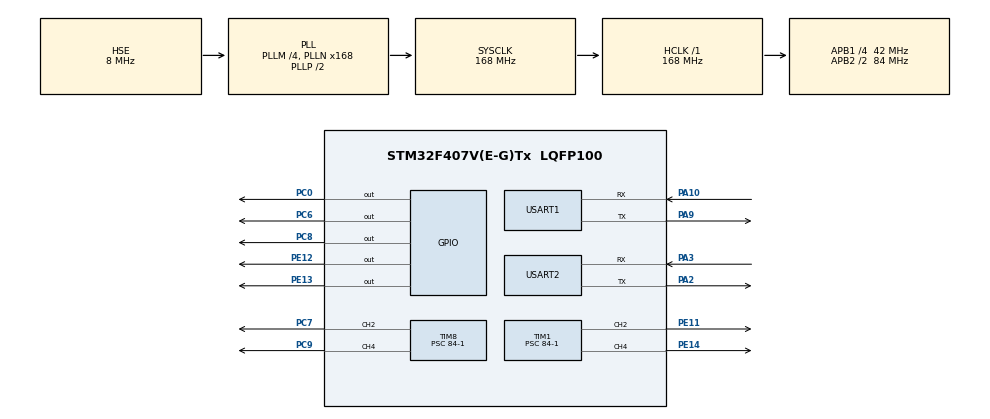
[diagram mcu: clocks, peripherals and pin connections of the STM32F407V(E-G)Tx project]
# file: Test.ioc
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Dma.Request0=USART2_RX
Dma.USART2_RX.0.Direction=DMA_PERIPH_TO_MEMORY
Dma.USART2_RX.0.FIFOMode=DMA_FIFOMODE_DISABLE
Dma.USART2_RX.0.Instance=DMA1_Stream5
Dma.USART2_RX.0.MemDataAlignment=DMA_MDATAALIGN_BYTE
Dma.USART2_RX.0.MemInc=DMA_MINC_ENABLE
Dma.USART2_RX.0.Mode=DMA_NORMAL
Dma.USART2_RX.0.PeriphDataAlignment=DMA_PDATAALIGN_BYTE
Dma.USART2_RX.0.PeriphInc=DMA_PINC_DISABLE
Dma.USART2_RX.0.Priority=DMA_PRIORITY_LOW
FREERTOS.Tasks01=Pid_Control,2,128,StartDefaultTask,Default,NULL,Dynamic,NULL,NULL;Recive,3,128,StartTask02,Default,NULL,Dynamic,NULL,NULL;Mpu_6050,-1,128,StartTask04,Default,NULL,Dynamic,NULL,NULL;Safety,3,128,StartTask05,Default,NULL,Dynamic,NULL,NULL
Mcu.Family=STM32F4
Mcu.Name=STM32F407V(E-G)Tx
Mcu.Package=LQFP100
NVIC.DMA1_Stream5_IRQn=true\:5\:0\:false\:false\:true\:true\:false\:true\:true
NVIC.PriorityGroup=NVIC_PRIORITYGROUP_4
NVIC.TIM1_BRK_TIM9_IRQn=true\:5\:0\:false\:false\:true\:false\:false\:true\:true
NVIC.TIM1_UP_TIM10_IRQn=true\:5\:0\:false\:false\:true\:true\:true\:true\:true
NVIC.TimeBase=TIM1_BRK_TIM9_IRQn
NVIC.TimeBaseIP=TIM9
NVIC.USART1_IRQn=true\:5\:0\:false\:false\:true\:true\:true\:true\:true
NVIC.USART2_IRQn=true\:5\:0\:false\:false\:true\:true\:true\:true\:true
PA10.Mode=Asynchronous
PA10.Signal=USART1_RX
PA13.Mode=Serial_Wire
PA13.Signal=SYS_JTMS-SWDIO
PA14.Mode=Serial_Wire
PA14.Signal=SYS_JTCK-SWCLK
PA2.Mode=Asynchronous
PA2.Signal=USART2_TX
PA3.Mode=Asynchronous
PA3.Signal=USART2_RX
PA9.Mode=Asynchronous
PA9.Signal=USART1_TX
PC0.Signal=GPIO_Output
PC14-OSC32_IN.Mode=LSE-External-Oscillator
PC14-OSC32_IN.Signal=RCC_OSC32_IN
PC15-OSC32_OUT.Mode=LSE-External-Oscillator
PC15-OSC32_OUT.Signal=RCC_OSC32_OUT
PC6.Signal=GPIO_Output
PC7.Signal=S_TIM8_CH2
PC8.Signal=GPIO_Output
PC9.Signal=S_TIM8_CH4
PE11.Signal=S_TIM1_CH2
PE12.Signal=GPIO_Output
PE13.Signal=GPIO_Output
PE14.Signal=S_TIM1_CH4
PH0-OSC_IN.Mode=HSE-External-Oscillator
PH0-OSC_IN.Signal=RCC_OSC_IN
PH1-OSC_OUT.Mode=HSE-External-Oscillator
PH1-OSC_OUT.Signal=RCC_OSC_OUT
ProjectManager.HeapSize=0x200
ProjectManager.StackSize=0x400
ProjectManager.TargetToolchain=MDK-ARM V5.32
RCC.48MHZClocksFreq_Value=84000000
RCC.AHBFreq_Value=168000000
RCC.APB1CLKDivider=RCC_HCLK_DIV4
RCC.APB1Freq_Value=42000000
RCC.APB1TimFreq_Value=84000000
RCC.APB2CLKDivider=RCC_HCLK_DIV2
RCC.APB2Freq_Value=84000000
RCC.APB2TimFreq_Value=168000000
RCC.CortexFreq_Value=168000000
RCC.HCLKFreq_Value=168000000
RCC.HSE_VALUE=8000000
RCC.HSI_VALUE=16000000
RCC.PLLM=4
RCC.PLLN=168
RCC.PLLSourceVirtual=RCC_PLLSOURCE_HSE
RCC.SYSCLKFreq_VALUE=168000000
RCC.SYSCLKSource=RCC_SYSCLKSOURCE_PLLCLK
RCC.VCOOutputFreq_Value=336000000
SH.S_TIM1_CH2.0=TIM1_CH2,PWM Generation2 CH2
SH.S_TIM1_CH4.0=TIM1_CH4,PWM Generation4 CH4
SH.S_TIM8_CH2.0=TIM8_CH2,PWM Generation2 CH2
SH.S_TIM8_CH4.0=TIM8_CH4,PWM Generation4 CH4
TIM1.AutoReloadPreload=TIM_AUTORELOAD_PRELOAD_DISABLE
TIM1.Channel-PWM\ Generation2\ CH2=TIM_CHANNEL_2
TIM1.Channel-PWM\ Generation4\ CH4=TIM_CHANNEL_4
TIM1.Period=200-1
TIM1.Prescaler=84-1
TIM8.Channel-PWM\ Generation2\ CH2=TIM_CHANNEL_2
TIM8.Channel-PWM\ Generation4\ CH4=TIM_CHANNEL_4
TIM8.Period=200-1
TIM8.Prescaler=84-1
USART1.VirtualMode=VM_ASYNC
USART2.VirtualMode=VM_ASYNC
VP_FREERTOS_VS_CMSIS_V1.Mode=CMSIS_V1
VP_SYS_VS_tim9.Mode=TIM9
VP_TIM1_VS_ClockSourceINT.Mode=Internal
board=custom

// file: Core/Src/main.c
/* USER CODE BEGIN Header */
/**
  ******************************************************************************
  * @file           : main.c
  * @brief          : Main program body
  ******************************************************************************
  * @attention
  *
  * Copyright (c) 2025 STMicroelectronics.
  * All rights reserved.
  *
  * This software is licensed under terms that can be found in the LICENSE file
  * in the root directory of this software component.
  * If no LICENSE file comes with this software, it is provided AS-IS.
  *
  ******************************************************************************
  */
/* USER CODE END Header */
#include "main.h"
#include "cmsis_os.h"
#include "dma.h"
#include "tim.h"
#include "usart.h"
#include "gpio.h"

/* USER CODE BEGIN Includes */
#include "dual_wheel_control.h"
/* USER CODE END Includes */

/* USER CODE BEGIN PTD */

uint8_t uart_dma_rx_buf[UART_DMA_BUFFER_SIZE];  // DMA接收缓冲区
uint8_t uart_frame[32];                         // 一帧数据缓存（例如14字节）

/* USER CODE END PTD */

void SystemClock_Config(void);
void MX_FREERTOS_Init(void);

int main(void)
{

  /* MCU Configuration--------------------------------------------------------*/

  /* Reset of all peripherals, Initializes the Flash interface and the Systick. */
  HAL_Init();

  /* Configure the system clock */
  SystemClock_Config();

  /* Initialize all configured peripherals */
  MX_GPIO_Init();
  MX_DMA_Init();
  MX_USART1_UART_Init();
  MX_TIM1_Init();
  MX_TIM8_Init();
  MX_USART2_UART_Init();
  /* USER CODE BEGIN 2 */
  HAL_TIM_PWM_Start(&htim1,TIM_CHANNEL_2);
	HAL_TIM_PWM_Start(&htim1,TIM_CHANNEL_4);
	HAL_TIM_PWM_Start(&htim8,TIM_CHANNEL_2);
	HAL_TIM_PWM_Start(&htim8,TIM_CHANNEL_4);
	dual_wheel_init(); // 鍒濆鍖? BTS7960
	HAL_UART_Receive_DMA(&huart2, uart_dma_rx_buf, UART_DMA_BUFFER_SIZE);
__HAL_UART_ENABLE_IT(&huart2, UART_IT_IDLE);

  /* USER CODE END 2 */

  /* Call init function for freertos objects (in cmsis_os2.c) */
  MX_FREERTOS_Init();

  /* Start scheduler */
  osKernelStart();

  /* We should never get here as control is now taken by the scheduler */

  /* Infinite loop */
  while (1)
  {

  }
}

void SystemClock_Config(void)
{
  RCC_OscInitTypeDef RCC_OscInitStruct = {0};
  RCC_ClkInitTypeDef RCC_ClkInitStruct = {0};

  /** Configure the main internal regulator output voltage
  */
  __HAL_RCC_PWR_CLK_ENABLE();
  __HAL_PWR_VOLTAGESCALING_CONFIG(PWR_REGULATOR_VOLTAGE_SCALE1);

  /** Initializes the RCC Oscillators according to the specified parameters
  * in the RCC_OscInitTypeDef structure.
  */
  RCC_OscInitStruct.OscillatorType = RCC_OSCILLATORTYPE_HSE;
  RCC_OscInitStruct.HSEState = RCC_HSE_ON;
  RCC_OscInitStruct.PLL.PLLState = RCC_PLL_ON;
  RCC_OscInitStruct.PLL.PLLSource = RCC_PLLSOURCE_HSE;
  RCC_OscInitStruct.PLL.PLLM = 4;
  RCC_OscInitStruct.PLL.PLLN = 168;
  RCC_OscInitStruct.PLL.PLLP = RCC_PLLP_DIV2;
  RCC_OscInitStruct.PLL.PLLQ = 4;
  if (HAL_RCC_OscConfig(&RCC_OscInitStruct) != HAL_OK)
  {
    Error_Handler();
  }

  /** Initializes the CPU, AHB and APB buses clocks
  */
  RCC_ClkInitStruct.ClockType = RCC_CLOCKTYPE_HCLK|RCC_CLOCKTYPE_SYSCLK
                              |RCC_CLOCKTYPE_PCLK1|RCC_CLOCKTYPE_PCLK2;
  RCC_ClkInitStruct.SYSCLKSource = RCC_SYSCLKSOURCE_PLLCLK;
  RCC_ClkInitStruct.AHBCLKDivider = RCC_SYSCLK_DIV1;
  RCC_ClkInitStruct.APB1CLKDivider = RCC_HCLK_DIV4;
  RCC_ClkInitStruct.APB2CLKDivider = RCC_HCLK_DIV2;

  if (HAL_RCC_ClockConfig(&RCC_ClkInitStruct, FLASH_LATENCY_5) != HAL_OK)
  {
    Error_Handler();
  }
}

void HAL_TIM_PeriodElapsedCallback(TIM_HandleTypeDef *htim)
{
  if (htim->Instance == TIM9) {
    HAL_IncTick();
  }
}

void Error_Handler(void)
{
  __disable_irq();
  while (1)
  {
  }
}

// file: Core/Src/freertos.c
/* USER CODE BEGIN Header */
/**
  ******************************************************************************
  * File Name          : freertos.c
  * Description        : Code for freertos applications
  ******************************************************************************
  * @attention
  *
  * Copyright (c) 2025 STMicroelectronics.
  * All rights reserved.
  *
  * This software is licensed under terms that can be found in the LICENSE file
  * in the root directory of this software component.
  * If no LICENSE file comes with this software, it is provided AS-IS.
  *
  ******************************************************************************
  */
/* USER CODE END Header */

#include "FreeRTOS.h"
#include "task.h"
#include "main.h"
#include "cmsis_os.h"

/* USER CODE BEGIN Includes */
#include "tim.h"
#include "dual_wheel_control.h"
#include "queue.h"
#include "usart.h"
/* USER CODE END Includes */

/* USER CODE BEGIN PM */
#define MAX_PITCH_ANGLE   25.0f
#define MAX_YAW_ANGLE     30.0f
#define MAX_SPEED         200.0f
#define DEAD_ZONE_PITCH   3.0f
#define DEAD_ZONE_YAW     3.0f
#define SPEED_SMOOTHING   0.15f
#define SENSOR_FILTER_ALPHA 0.1f
#define MAX_DELTA_SPEED 10.0f
#define MAX_PITCH_JUMP 10.0f   // pitch 跳变保护阈值
#define MAX_YAW_JUMP   10,.0f   // yaw 跳变保护阈值
/* USER CODE END PM */

osThreadId Pid_ControlHandle;
osThreadId ReciveHandle;
osThreadId Mpu_6050Handle;
osThreadId SafetyHandle;

/* USER CODE BEGIN FunctionPrototypes */
QueueHandle_t uart_rx_queue;
extern uint8_t  buff_data;
volatile uint32_t last_frame_tick = 0;
float last_left_speed = 0;
float last_right_speed = 0;

static float filtered_pitch = 0.0f;
static float filtered_yaw = 0.0f;

// 用于异常跳变保护
static float last_raw_pitch = 0.0f;
static float last_raw_yaw = 0.0f;

// 添加一个复位函数
void reset_state(void) {
    last_left_speed = 0.0f;
    last_right_speed = 0.0f;
    filtered_pitch = 0.0f;
    filtered_yaw = 0.0f;
    last_raw_pitch = 0.0f;
    last_raw_yaw = 0.0f;
}

/* USER CODE END FunctionPrototypes */

void StartDefaultTask(void const * argument);
void StartTask02(void const * argument);
void StartTask04(void const * argument);
void StartTask05(void const * argument);

void MX_FREERTOS_Init(void); /* (MISRA C 2004 rule 8.1) */

/* GetIdleTaskMemory prototype (linked to static allocation support) */
void vApplicationGetIdleTaskMemory( StaticTask_t **ppxIdleTaskTCBBuffer, StackType_t **ppxIdleTaskStackBuffer, uint32_t *pulIdleTaskStackSize );

/* USER CODE BEGIN GET_IDLE_TASK_MEMORY */
static StaticTask_t xIdleTaskTCBBuffer;
static StackType_t xIdleStack[configMINIMAL_STACK_SIZE];

void vApplicationGetIdleTaskMemory( StaticTask_t **ppxIdleTaskTCBBuffer, StackType_t **ppxIdleTaskStackBuffer, uint32_t *pulIdleTaskStackSize )
{
  *ppxIdleTaskTCBBuffer = &xIdleTaskTCBBuffer;
  *ppxIdleTaskStackBuffer = &xIdleStack[0];
  *pulIdleTaskStackSize = configMINIMAL_STACK_SIZE;
  /* place for user code */
}
/* USER CODE END GET_IDLE_TASK_MEMORY */

void MX_FREERTOS_Init(void) {

  /* USER CODE BEGIN RTOS_QUEUES */
  /* add queues, ... */
	 uart_rx_queue = xQueueCreate(128, sizeof(UartFrame_t));
  /* USER CODE END RTOS_QUEUES */

  /* Create the thread(s) */
  /* definition and creation of Pid_Control */
  osThreadDef(Pid_Control, StartDefaultTask, osPriorityHigh, 0, 128);
  Pid_ControlHandle = osThreadCreate(osThread(Pid_Control), NULL);

  /* definition and creation of Recive */
  osThreadDef(Recive, StartTask02, osPriorityRealtime, 0, 128);
  ReciveHandle = osThreadCreate(osThread(Recive), NULL);

  /* definition and creation of Mpu_6050 */
  osThreadDef(Mpu_6050, StartTask04, osPriorityBelowNormal, 0, 128);
  Mpu_6050Handle = osThreadCreate(osThread(Mpu_6050), NULL);

  /* definition and creation of Safety */
  osThreadDef(Safety, StartTask05, osPriorityRealtime, 0, 128);
  SafetyHandle = osThreadCreate(osThread(Safety), NULL);

}

/* USER CODE BEGIN Header_StartDefaultTask */
/**
	uart
  * @brief  Function implementing the defaultTask thread.
  * @param  argument: Not used
  * @retval None
  */
/* USER CODE END Header_StartDefaultTask */
void StartDefaultTask(void const * argument)
{
  /* USER CODE BEGIN StartDefaultTask */

		UartFrame_t frame1;

		for (;;)
		{
				if (xQueueReceive(uart_rx_queue, &frame1, pdMS_TO_TICKS(5)) == pdPASS)
				{
						float raw_pitch = frame1.f1;
						float raw_yaw   = frame1.f2;
						last_frame_tick = xTaskGetTickCount(); // 更新时间戳
						// 异常跳变保护：pitch/yaw 跳变过大直接丢弃
						if (fabsf(raw_pitch - last_raw_pitch) > MAX_PITCH_JUMP ||
								fabsf(raw_yaw   - last_raw_yaw)   > MAX_YAW_JUMP)
						{
								printf("[WARN] Data jump too large: ΔPitch=%.1f, ΔYaw=%.1f → Discarded\r\n",
											 raw_pitch - last_raw_pitch, raw_yaw - last_raw_yaw);
								continue; // 丢弃此帧
						}

						// 更新上一帧原始数据
						last_raw_pitch = raw_pitch;
						last_raw_yaw   = raw_yaw;

						// 传感器输入滤波
						filtered_pitch = SENSOR_FILTER_ALPHA * raw_pitch + (1.0f - SENSOR_FILTER_ALPHA) * filtered_pitch;
						filtered_yaw   = SENSOR_FILTER_ALPHA * raw_yaw   + (1.0f - SENSOR_FILTER_ALPHA) * filtered_yaw;

						float pitch_speed = 0.0f;
						if (fabsf(filtered_pitch) > DEAD_ZONE_PITCH)
						{
								pitch_speed = (filtered_pitch / MAX_PITCH_ANGLE) * MAX_SPEED;
								pitch_speed = fminf(fmaxf(pitch_speed, -MAX_SPEED), MAX_SPEED);
						}

						float yaw_adjust = 0.0f;
						if (fabsf(filtered_yaw) > DEAD_ZONE_YAW)
						{
								yaw_adjust = (filtered_yaw / MAX_YAW_ANGLE) * MAX_SPEED;
								yaw_adjust = fminf(fmaxf(yaw_adjust, -MAX_SPEED), MAX_SPEED);
						}

						float target_left_speed  = pitch_speed - yaw_adjust;
						float target_right_speed = pitch_speed + yaw_adjust;

						float delta_l = target_left_speed - last_left_speed;
						float delta_r = target_right_speed - last_right_speed;

						if (fabsf(delta_l) > MAX_DELTA_SPEED)
								target_left_speed = last_left_speed + MAX_DELTA_SPEED * ((delta_l > 0) ? 1 : -1);
						if (fabsf(delta_r) > MAX_DELTA_SPEED)
								target_right_speed = last_right_speed + MAX_DELTA_SPEED * ((delta_r > 0) ? 1 : -1);

						float left_speed = SPEED_SMOOTHING * target_left_speed + (1 - SPEED_SMOOTHING) * last_left_speed;
						float right_speed = SPEED_SMOOTHING * target_right_speed + (1 - SPEED_SMOOTHING) * last_right_speed;

						last_left_speed = left_speed;
						last_right_speed = right_speed;

						set_left_pwm((int16_t)left_speed);
						set_right_pwm((int16_t)right_speed);

						printf("Target L: %.1f, R: %.1f | FilteredPitch: %.1f, Raw: %.1f\r\n",
									 left_speed, right_speed, filtered_pitch, raw_pitch);
				}
				osDelay(1);
		}

  /* USER CODE END StartDefaultTask */
}

/* USER CODE BEGIN Header_StartTask02 */
/**
   PID
* @brief Function implementing the myTask02 thread.
* @param argument: Not used
* @retval None
*/
/* USER CODE END Header_StartTask02 */
void StartTask02(void const * argument)
{
  /* USER CODE BEGIN StartTask02 */
  /* Infinite loop */
  for(;;)
  {//

		//读取一个mpu6050的加速度x y加速度值
    osDelay(1);
  }
  /* USER CODE END StartTask02 */
}

void StartTask04(void const * argument)
{
  for(;;)
  {
    osDelay(1);
  }
}

void StartTask05(void const * argument)
{
  /* USER CODE BEGIN StartTask05 */
  /* Infinite loop */
  for(;;)
  {
				uint32_t now = xTaskGetTickCount();
        if ((now - last_frame_tick) > pdMS_TO_TICKS(1000)) // 超过1s未更新
        {
            set_left_pwm(0);
            set_right_pwm(0);
            reset_state(); // 重置状态
        }
        osDelay(1);
  }
  /* USER CODE END StartTask05 */
}
